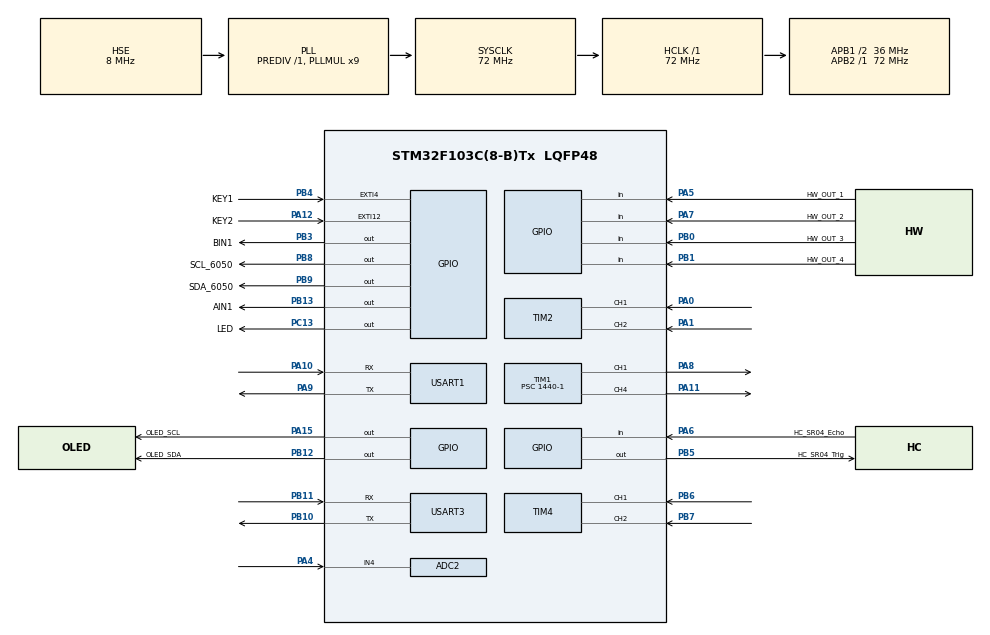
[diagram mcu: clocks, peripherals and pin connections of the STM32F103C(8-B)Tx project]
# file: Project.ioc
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ADC2.Channel-0\#ChannelRegularConversion=ADC_CHANNEL_4
ADC2.NbrOfConversionFlag=1
ADC2.Rank-0\#ChannelRegularConversion=1
ADC2.SamplingTime-0\#ChannelRegularConversion=ADC_SAMPLETIME_13CYCLES_5
Mcu.Family=STM32F1
Mcu.Name=STM32F103C(8-B)Tx
Mcu.Package=LQFP48
NVIC.EXTI15_10_IRQn=true\:2\:0\:true\:false\:true\:true\:true\:true
NVIC.EXTI4_IRQn=true\:2\:0\:true\:false\:true\:true\:true\:true
NVIC.PriorityGroup=NVIC_PRIORITYGROUP_4
NVIC.TIM1_UP_IRQn=true\:0\:0\:false\:false\:true\:true\:true\:true
NVIC.TIM2_IRQn=true\:0\:0\:false\:false\:true\:true\:true\:true
NVIC.TIM4_IRQn=true\:0\:0\:false\:false\:true\:true\:true\:true
NVIC.USART1_IRQn=true\:0\:0\:false\:false\:true\:true\:true\:true
NVIC.USART3_IRQn=true\:0\:0\:false\:false\:true\:true\:true\:true
PA0-WKUP.GPIO_PuPd=GPIO_PULLUP
PA0-WKUP.Signal=S_TIM2_CH1_ETR
PA1.GPIO_PuPd=GPIO_PULLUP
PA1.Signal=S_TIM2_CH2
PA10.Mode=Asynchronous
PA10.Signal=USART1_RX
PA11.Signal=S_TIM1_CH4
PA12.GPIO_Label=KEY2
PA12.GPIO_ModeDefaultEXTI=GPIO_MODE_IT_FALLING
PA12.GPIO_PuPd=GPIO_PULLUP
PA12.Signal=GPXTI12
PA13.Mode=Serial_Wire
PA13.Signal=SYS_JTMS-SWDIO
PA14.Mode=Serial_Wire
PA14.Signal=SYS_JTCK-SWCLK
PA15.GPIO_Label=OLED_SCL
PA15.GPIO_PuPd=GPIO_PULLUP
PA15.PinState=GPIO_PIN_SET
PA15.Signal=GPIO_Output
PA4.Signal=ADCx_IN4
PA5.GPIO_Label=HW_OUT_1
PA5.Signal=GPIO_Input
PA6.GPIO_Label=HC_SR04_Echo
PA6.Signal=GPIO_Input
PA7.GPIO_Label=HW_OUT_2
PA7.Signal=GPIO_Input
PA8.Signal=S_TIM1_CH1
PA9.Mode=Asynchronous
PA9.Signal=USART1_TX
PB0.GPIO_Label=HW_OUT_3
PB0.Signal=GPIO_Input
PB1.GPIO_Label=HW_OUT_4
PB1.Signal=GPIO_Input
PB10.Mode=Asynchronous
PB10.Signal=USART3_TX
PB11.Mode=Asynchronous
PB11.Signal=USART3_RX
PB12.GPIO_Label=OLED_SDA
PB12.GPIO_PuPd=GPIO_PULLUP
PB12.PinState=GPIO_PIN_SET
PB12.Signal=GPIO_Output
PB13.GPIO_Label=AIN1
PB13.Signal=GPIO_Output
PB3.GPIO_Label=BIN1
PB3.Signal=GPIO_Output
PB4.GPIO_Label=KEY1
PB4.GPIO_PuPd=GPIO_PULLDOWN
PB4.Signal=GPXTI4
PB5.GPIO_Label=HC_SR04_Trig
PB5.Signal=GPIO_Output
PB6.GPIO_PuPd=GPIO_PULLUP
PB6.Signal=S_TIM4_CH1
PB7.GPIO_PuPd=GPIO_PULLUP
PB7.Signal=S_TIM4_CH2
PB8.GPIO_Label=SCL_6050
PB8.PinState=GPIO_PIN_SET
PB8.Signal=GPIO_Output
PB9.GPIO_Label=SDA_6050
PB9.PinState=GPIO_PIN_SET
PB9.Signal=GPIO_Output
PC13-TAMPER-RTC.GPIO_Label=LED
PC13-TAMPER-RTC.Signal=GPIO_Output
PD0-OSC_IN.Mode=HSE-External-Oscillator
PD0-OSC_IN.Signal=RCC_OSC_IN
PD1-OSC_OUT.Mode=HSE-External-Oscillator
PD1-OSC_OUT.Signal=RCC_OSC_OUT
ProjectManager.HeapSize=0x800
ProjectManager.StackSize=0x800
ProjectManager.TargetToolchain=MDK-ARM V5.32
RCC.ADCPresc=RCC_ADCPCLK2_DIV6
RCC.AHBFreq_Value=72000000
RCC.APB1CLKDivider=RCC_HCLK_DIV2
RCC.APB1Freq_Value=36000000
RCC.APB1TimFreq_Value=72000000
RCC.APB2Freq_Value=72000000
RCC.APB2TimFreq_Value=72000000
RCC.HCLKFreq_Value=72000000
RCC.PLLMUL=RCC_PLL_MUL9
RCC.PLLSourceVirtual=RCC_PLLSOURCE_HSE
RCC.SYSCLKFreq_VALUE=72000000
RCC.SYSCLKSource=RCC_SYSCLKSOURCE_PLLCLK
RCC.USBFreq_Value=72000000
SH.ADCx_IN4.0=ADC2_IN4,IN4
SH.S_TIM1_CH1.0=TIM1_CH1,PWM Generation1 CH1
SH.S_TIM1_CH4.0=TIM1_CH4,PWM Generation4 CH4
SH.S_TIM2_CH1_ETR.0=TIM2_CH1,Encoder_Interface
SH.S_TIM2_CH2.0=TIM2_CH2,Encoder_Interface
SH.S_TIM4_CH1.0=TIM4_CH1,Encoder_Interface
SH.S_TIM4_CH2.0=TIM4_CH2,Encoder_Interface
TIM1.AutoReloadPreload=TIM_AUTORELOAD_PRELOAD_ENABLE
TIM1.Channel-PWM\ Generation1\ CH1=TIM_CHANNEL_1
TIM1.Channel-PWM\ Generation4\ CH4=TIM_CHANNEL_4
TIM1.Period=100-1
TIM1.Prescaler=1440-1
TIM1.Pulse-PWM\ Generation1\ CH1=50
TIM1.Pulse-PWM\ Generation4\ CH4=50
TIM2.EncoderMode=TIM_ENCODERMODE_TI12
TIM2.IC1Filter=6
TIM4.EncoderMode=TIM_ENCODERMODE_TI12
TIM4.IC1Filter=6
USART1.VirtualMode=VM_ASYNC
USART3.VirtualMode=VM_ASYNC
VP_TIM1_VS_ClockSourceINT.Mode=Internal
board=custom

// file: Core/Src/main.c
/* USER CODE BEGIN Header */
/**
  ******************************************************************************
  * @file           : main.c
  * @brief          : Main program body
  ******************************************************************************
  * @attention
  *
  * Copyright (c) 2026 STMicroelectronics.
  * All rights reserved.
  *
  * This software is licensed under terms that can be found in the LICENSE file
  * in the root directory of this software component.
  * If no LICENSE file comes with this software, it is provided AS-IS.
  *
  ******************************************************************************
  */
/* USER CODE END Header */
#include "main.h"
#include "adc.h"
#include "pid.h"
#include "tim.h"
#include "usart.h"
#include "gpio.h"

/* USER CODE BEGIN Includes */
#include "oled.h"
#include <stdint.h>
#include <stdio.h>
#include "Motor.h"
#include "niming.h"
#include "PID.h"
#include "Sonic.h"
#include "Use_cJSON.h"
#include "mpu6050.h"
#include "inv_mpu.h"
#include "inv_mpu_dmp_motion_driver.h"
#include <string.h>
/* USER CODE END Includes */

/* USER CODE BEGIN PD */
void OLED_Show_base(void);
/* USER CODE END PD */

/* USER CODE BEGIN PM */
short Encoder1Count = 0;
short Encoder2Count = 0;
float Motor1Speed = 0.00;
float Motor2Speed = 0.00;
int Motor1PWM = 0;
int Motor2PWM = 0;
float Mileage;
uint16_t TimerCount = 0;

uint8_t Usart1_ReadBuf[256];	//串口1 缓冲数组
uint8_t Usart1_ReadCount = 0;	//串口1 接收字节计数
uint8_t Usart3ReceiveData;  //保存串口三接收的数据

float p,i,d,a;

uint8_t OledString[50];
uint8_t Usart3String[50];

float pitch,roll,yaw; // 俯仰角 横滚角 航向角

int8_t carmode;
/* USER CODE END PM */

/* USER CODE BEGIN PV */
extern tPid pidMotor1Speed;
extern tPid pidMotor2Speed;
/* USER CODE END PV */

void SystemClock_Config(void);

int main(void)
{

  /* MCU Configuration--------------------------------------------------------*/

  /* Reset of all peripherals, Initializes the Flash interface and the Systick. */
  HAL_Init();

  /* USER CODE BEGIN Init */
	PID_init();
  /* USER CODE END Init */

  /* Configure the system clock */
  SystemClock_Config();

  /* Initialize all configured peripherals */
  MX_GPIO_Init();
  MX_USART1_UART_Init();
  MX_TIM1_Init();
  MX_TIM2_Init();
  MX_TIM4_Init();
  MX_ADC2_Init();
  MX_USART3_UART_Init();
  /* USER CODE BEGIN 2 */
	OLED_Init();
	OLED_Clear();

	HAL_TIM_Base_Start_IT(&htim1);                //开启定时器1 中断
	__HAL_UART_ENABLE_IT(&huart1,UART_IT_RXNE);	//开启串口1接收中断
	HAL_UART_Receive_IT(&huart3,&Usart3ReceiveData,1);

	HAL_TIM_PWM_Start(&htim1,TIM_CHANNEL_1);//开启定时器1 通道1 PWM输出
	HAL_TIM_PWM_Start(&htim1,TIM_CHANNEL_4);//开启定时器1 通道4 PWM输出

	HAL_TIM_Encoder_Start(&htim2,TIM_CHANNEL_ALL);//开启定时器2
	HAL_TIM_Encoder_Start(&htim4,TIM_CHANNEL_ALL);//开启定时器4
	HAL_TIM_Base_Start_IT(&htim2);				//开启定时器2 中断
	HAL_TIM_Base_Start_IT(&htim4);        //开启定时器4 中断

  HAL_Delay(500);//延时0.5秒 6050上电稳定后初始化
  MPU_Init(); //初始化MPU6050
  while(MPU_Init()!=0);
  while(mpu_dmp_init()!=0);

	//motorPidSetSpeed(-1,-1);

  /* USER CODE END 2 */

  /* Infinite loop */
  while (1)
  {

    /* USER CODE BEGIN 3 */

		switch (carmode)
    {
      case 0://OLED基本显示
      OLED_Show_base();

      sprintf((char *)OledString,"HC_SR04:%.2fcm\r\n",HC_SR04_Read());//显示超声波数据
      OLED_ShowString(0,3,OledString,12);

      sprintf((char *)OledString,"p:%.2f r:%.2f \r\n",pitch,roll);//显示6050数据 俯仰角 横滚角
      OLED_ShowString(0,4,OledString,12);

      sprintf((char *)OledString,"y:%.2f  \r\n",yaw);//显示6050数据  航向角
      OLED_ShowString(0,5,OledString,12);

      sprintf((char *)OledString,"carmode:%d  \r\n",carmode);//显示当前模式
      OLED_ShowString(0,6,OledString,12);

      //获得6050数据
		  while(mpu_dmp_get_data(&pitch,&roll,&yaw)!=0){}

      //显示模式电机停转
      motorPidSetSpeed(0,0);
      break;

      case 1://串口蓝牙显示+遥控模式
      sprintf((char *)Usart3String,"V1:%.2fV2:%.2f\r\n",Motor1Speed,Motor2Speed);//显示两个电机转速 单位：转/秒
		//阻塞式发送通过串口三输出字符 strlen:计算字符串大小
      HAL_UART_Transmit(&huart3,( uint8_t *)Usart3String,strlen(( const  char  *)Usart3String),50);

      sprintf((char *)Usart3String,"Mileage%.2f\r\n",Mileage);//计算小车里程 单位cm
      HAL_UART_Transmit(&huart3,( uint8_t *)Usart3String,strlen(( const  char  *)Usart3String),50);

      sprintf((char *)Usart3String,"U:%.2fV\r\n",adcGetBatteryVoltage());//显示电池电压
      HAL_UART_Transmit(&huart3,( uint8_t *)Usart3String,strlen(( const  char  *)Usart3String),50);

      sprintf((char *)Usart3String,"HC_SR04:%.2fcm\r\n",HC_SR04_Read());//显示超声波数据
      HAL_UART_Transmit(&huart3,( uint8_t *)Usart3String,strlen(( const  char  *)Usart3String),0xFFFF);

      sprintf((char *)Usart3String,"pitch:%.2f roll:%.2f yaw:%.2f\r\n",pitch,roll,yaw);//显示6050数据
      HAL_UART_Transmit(&huart3,( uint8_t *)Usart3String,strlen(( const  char  *)Usart3String),0xFFFF);

      //获得6050数据
		  while(mpu_dmp_get_data(&pitch,&roll,&yaw)!=0){}
      /*遥控功能在串口三接收中时执行*/
      break;

      case 2://pid循迹
      OLED_Show_base();
      HW_PID_Tracking();
      break;

      case 3://超声波避障
      OLED_Show_base();

      sprintf((char *)OledString,"HC_SR04:%.2fcm\r\n",HC_SR04_Read());//显示超声波数据
      OLED_ShowString(0,3,OledString,12);

      Sonic_Avoid();
      break;

      case 4://超声波跟随
      OLED_Show_base();

      sprintf((char *)OledString,"HC_SR04:%.2fcm\r\n",HC_SR04_Read());//显示超声波数据
      OLED_ShowString(0,3,OledString,12);

      Sonic_Follow();
      break;

      case 5://MPU6050走直线90°
      sprintf((char *)Usart3String,"pitch:%.2f roll:%.2f yaw:%.2f\r\n",pitch,roll,yaw);//显示6050数据
      HAL_UART_Transmit(&huart3,( uint8_t *)Usart3String,strlen(( const  char  *)Usart3String),0xFFFF);

      //获得6050数据
		  while(mpu_dmp_get_data(&pitch,&roll,&yaw)!=0){}

      MPU6050_GoStraight();//必须调用这个函数才能转弯
      break;

    }
		//HAL_Delay(5);

/***********************************************************************/
		//电机速度等信息发送到上位机
		//注意上位机不支持浮点数，所以要乘100
		// ANO_DT_Send_F2(Motor1Speed*100, 3.0*100,Motor2Speed*100,3.0*100);

		// PID_RW();
		// printf("P:%.3f  I:%.3f  D:%.3f A:%.3f\r\n",p,i,d,a);

  }
  /* USER CODE END 3 */
}

void SystemClock_Config(void)
{
  RCC_OscInitTypeDef RCC_OscInitStruct = {0};
  RCC_ClkInitTypeDef RCC_ClkInitStruct = {0};
  RCC_PeriphCLKInitTypeDef PeriphClkInit = {0};

  /** Initializes the RCC Oscillators according to the specified parameters
  * in the RCC_OscInitTypeDef structure.
  */
  RCC_OscInitStruct.OscillatorType = RCC_OSCILLATORTYPE_HSE;
  RCC_OscInitStruct.HSEState = RCC_HSE_ON;
  RCC_OscInitStruct.HSEPredivValue = RCC_HSE_PREDIV_DIV1;
  RCC_OscInitStruct.HSIState = RCC_HSI_ON;
  RCC_OscInitStruct.PLL.PLLState = RCC_PLL_ON;
  RCC_OscInitStruct.PLL.PLLSource = RCC_PLLSOURCE_HSE;
  RCC_OscInitStruct.PLL.PLLMUL = RCC_PLL_MUL9;
  if (HAL_RCC_OscConfig(&RCC_OscInitStruct) != HAL_OK)
  {
    Error_Handler();
  }

  /** Initializes the CPU, AHB and APB buses clocks
  */
  RCC_ClkInitStruct.ClockType = RCC_CLOCKTYPE_HCLK|RCC_CLOCKTYPE_SYSCLK
                              |RCC_CLOCKTYPE_PCLK1|RCC_CLOCKTYPE_PCLK2;
  RCC_ClkInitStruct.SYSCLKSource = RCC_SYSCLKSOURCE_PLLCLK;
  RCC_ClkInitStruct.AHBCLKDivider = RCC_SYSCLK_DIV1;
  RCC_ClkInitStruct.APB1CLKDivider = RCC_HCLK_DIV2;
  RCC_ClkInitStruct.APB2CLKDivider = RCC_HCLK_DIV1;

  if (HAL_RCC_ClockConfig(&RCC_ClkInitStruct, FLASH_LATENCY_2) != HAL_OK)
  {
    Error_Handler();
  }
  PeriphClkInit.PeriphClockSelection = RCC_PERIPHCLK_ADC;
  PeriphClkInit.AdcClockSelection = RCC_ADCPCLK2_DIV6;
  if (HAL_RCCEx_PeriphCLKConfig(&PeriphClkInit) != HAL_OK)
  {
    Error_Handler();
  }
}

/* USER CODE BEGIN 4 */

/*******************
*  @brief  定时器回调函数
*  @param
*  @return
*
*******************/
void HAL_TIM_PeriodElapsedCallback(TIM_HandleTypeDef *htim)
{
	if(htim == &htim1)//htim1 500HZ  2ms 中断一次
	{
		TimerCount++;
		if(TimerCount %5 == 0)//每10ms执行一次
		{
			Encoder1Count = (short)__HAL_TIM_GET_COUNTER(&htim2);
			Encoder2Count = -(short)__HAL_TIM_GET_COUNTER(&htim4);
			//清零计数值
			__HAL_TIM_SET_COUNTER(&htim2,0);
			__HAL_TIM_SET_COUNTER(&htim4,0);

			//Motor1Speed 最大值 ≈ 10.4（rps）
			Motor1Speed = (float)Encoder1Count*100/9.6/11/4;
			Motor2Speed = (float)Encoder2Count*100/9.6/11/4;

		}
		if(TimerCount %10 ==0)//每20ms一次
		{
		 /*里程数(cm) += 时间周期（s）*车轮转速(转/s)*车轮周长(cm)*/
		  Mileage += 0.02*Motor1Speed*22;

		  Motor_Set(PID_realize(&pidMotor1Speed,Motor1Speed),PID_realize(&pidMotor2Speed,Motor2Speed));
		  TimerCount=0;

		}
	}
}

/*******************
*  @brief  OLED基本显示函数
*  @param
*  @return
*
*******************/
void OLED_Show_base(void)
{
  OLED_Clear();
  sprintf((char *)OledString,"V1:%.2fV2:%.2f",Motor1Speed,Motor2Speed);//显示两个电机的速度
  OLED_ShowString(0,0,OledString,12);

  sprintf((char *)OledString,"Mileage:%.2f   ",Mileage);//显示里程数
  OLED_ShowString(0,1,OledString,12);

  sprintf((char*)OledString, "U:%.2fV", adcGetBatteryVoltage());//显示电池电压
  OLED_ShowString(0,2,OledString,12);
}

/* USER CODE END 4 */

void Error_Handler(void)
{
  __disable_irq();
  while (1)
  {
  }
}
